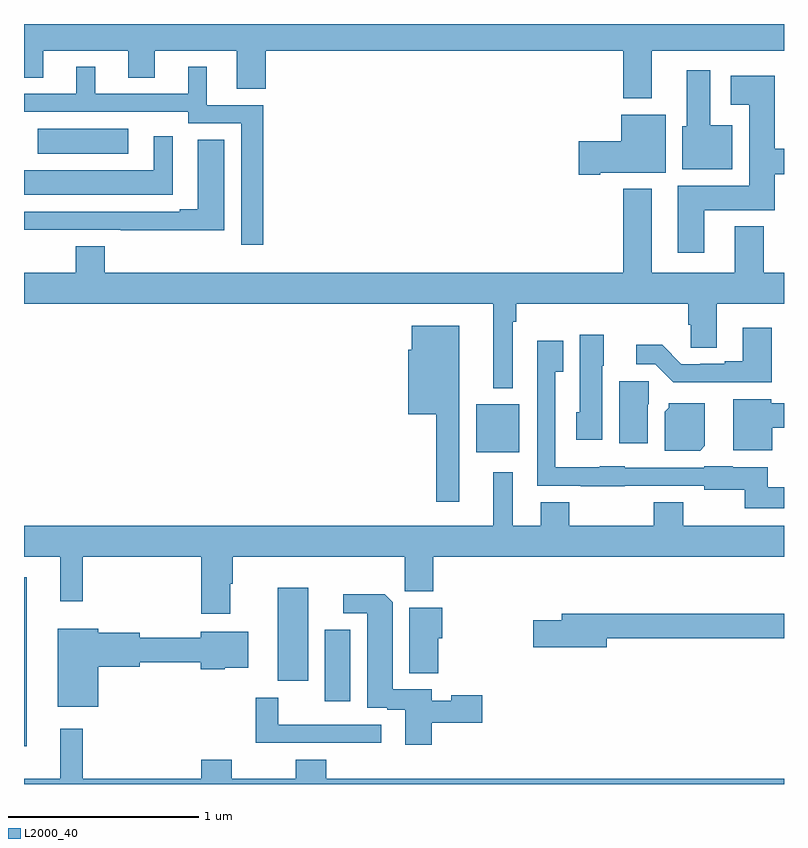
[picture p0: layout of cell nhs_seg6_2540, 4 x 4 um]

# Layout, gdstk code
import gdstk
lib = gdstk.Library(unit=1e-6, precision=1e-09)
def R(c, l, rs):  # rectangles x0, y0, x1, y1
    for r in rs: c.add(gdstk.rectangle(r[:2], r[2:], *l))
def P(c, l, *ps):  # polygons
    for p in ps: c.add(gdstk.Polygon(p, *l))
L2000_40 = (2000, 40)

nhs_seg6_2540 = lib.new_cell('nhs_seg6_2540')
R(nhs_seg6_2540, L2000_40, [(263,919.7,263.014,920.587), (264.584,919.935,264.718,920.311), (264.335,920.043,264.496,920.533), (265.379,921.245,265.606,921.499), (263.073,922.817,263.548,922.948)])
P(nhs_seg6_2540, L2000_40, [(266.305,923.36),(267,923.36),(267,923.5),(263,923.5),(263,923.218),(263.101,923.218),(263.101,923.36),(263.549,923.36),(263.549,923.218),(263.689,923.218),(263.689,923.36),(264.119,923.36),(264.119,923.158),(264.272,923.158),(264.272,923.36),(266.153,923.36),(266.153,923.108),(266.305,923.108)],
  [(264.26,923.073),(263.962,923.073),(263.962,923.275),(263.864,923.275),(263.864,923.133),(263.374,923.133),(263.374,923.275),(263.276,923.275),(263.276,923.133),(263,923.133),(263,923.037),(263.865,923.037),(263.865,922.977),(264.144,922.977),(264.144,922.338),(264.26,922.338)],
  [(266.728,922.966),(266.611,922.966),(266.611,923.257),(266.489,923.257),(266.489,922.962),(266.465,922.962),(266.465,922.736),(266.728,922.736)],
  [(266.581,922.52),(266.951,922.52),(266.951,922.708),(267,922.708),(267,922.844),(266.951,922.844),(266.951,923.227),(266.721,923.227),(266.721,923.075),(266.816,923.075),(266.816,922.648),(266.441,922.648),(266.441,922.296),(266.581,922.296)],
  [(266.032,922.718),(266.377,922.718),(266.377,923.023),(266.144,923.023),(266.144,922.884),(265.92,922.884),(265.92,922.706),(266.032,922.706)],
  [(263.782,922.909),(263.684,922.909),(263.684,922.729),(263,922.729),(263,922.601),(263.782,922.601)],
  [(264.055,922.891),(263.915,922.891),(263.915,922.525),(263.819,922.525),(263.819,922.512),(263,922.512),(263,922.416),(263.509,922.416),(263.509,922.414),(264.055,922.414)],
  [(265.573,921.932),(265.591,921.932),(265.591,922.028),(266.495,922.028),(266.495,921.918),(266.508,921.918),(266.508,921.796),(266.647,921.796),(266.647,922.028),(267,922.028),(267,922.192),(266.894,922.192),(266.894,922.435),(266.741,922.435),(266.741,922.192),(266.305,922.192),(266.305,922.633),(266.153,922.633),(266.153,922.192),(263.426,922.192),(263.426,922.331),(263.273,922.331),(263.273,922.192),(263,922.192),(263,922.028),(265.469,922.028),(265.469,921.584),(265.573,921.584)],
  [(265.291,921.913),(265.04,921.913),(265.04,921.786),(265.022,921.786),(265.022,921.446),(265.17,921.446),(265.17,920.985),(265.291,920.985)],
  [(266.936,921.901),(266.783,921.901),(266.783,921.724),(266.687,921.724),(266.687,921.711),(266.56,921.711),(266.56,921.708),(266.46,921.708),(266.358,921.811),(266.223,921.811),(266.223,921.708),(266.322,921.708),(266.416,921.614),(266.936,921.614)],
  [(266.044,921.702),(266.05,921.702),(266.05,921.865),(265.925,921.865),(265.925,921.456),(265.907,921.456),(265.907,921.312),(266.044,921.312)],
  [(267,921.061),(266.914,921.061),(266.914,921.166),(266.73,921.166),(266.73,921.172),(266.58,921.172),(266.58,921.165),(266.163,921.165),(266.163,921.172),(266.031,921.172),(266.031,921.166),(265.797,921.166),(265.797,921.671),(265.837,921.671),(265.837,921.832),(265.701,921.832),(265.701,921.069),(265.931,921.069),(265.931,921.068),(266.163,921.068),(266.163,921.069),(266.58,921.069),(266.58,921.05),(266.793,921.05),(266.793,920.952),(267,920.952)],
  [(266.284,921.498),(266.288,921.498),(266.288,921.621),(266.132,921.621),(266.132,921.294),(266.284,921.294)],
  [(266.938,921.376),(267,921.376),(267,921.505),(266.934,921.505),(266.934,921.526),(266.732,921.526),(266.732,921.257),(266.938,921.257)],
  [(266.584,921.28),(266.584,921.505),(266.394,921.505),(266.394,921.48),(266.372,921.458),(266.372,921.254),(266.558,921.254)],
  [(264.085,920.555),(264.098,920.555),(264.098,920.696),(265.003,920.696),(265.003,920.514),(265.154,920.514),(265.154,920.696),(267,920.696),(267,920.86),(266.469,920.86),(266.469,920.984),(266.314,920.984),(266.314,920.86),(265.869,920.86),(265.869,920.984),(265.721,920.984),(265.721,920.86),(265.573,920.86),(265.573,921.142),(265.469,921.142),(265.469,920.86),(263,920.86),(263,920.696),(263.192,920.696),(263.192,920.463),(263.309,920.463),(263.309,920.696),(263.933,920.696),(263.933,920.397),(264.085,920.397)],
  [(265.147,919.822),(265.411,919.822),(265.411,919.966),(265.248,919.966),(265.248,919.939),(265.147,919.939),(265.147,919.998),(264.94,919.998),(264.94,920.456),(264.898,920.498),(264.681,920.498),(264.681,920.4),(264.806,920.4),(264.806,919.902),(264.911,919.902),(264.911,919.89),(265.007,919.89),(265.007,919.707),(265.147,919.707)],
  [(265.181,920.266),(265.201,920.266),(265.201,920.428),(265.028,920.428),(265.028,920.083),(265.181,920.083)],
  [(266.068,920.266),(267,920.266),(267,920.395),(265.829,920.395),(265.829,920.361),(265.68,920.361),(265.68,920.219),(266.068,920.219)],
  [(263.392,920.117),(263.608,920.117),(263.608,920.14),(263.93,920.14),(263.93,920.104),(264.056,920.104),(264.056,920.111),(264.181,920.111),(264.181,920.302),(263.93,920.302),(263.93,920.269),(263.608,920.269),(263.608,920.295),(263.392,920.295),(263.392,920.317),(263.177,920.317),(263.177,919.907),(263.392,919.907)],
  [(264.88,919.812),(264.339,919.812),(264.339,919.954),(264.22,919.954),(264.22,919.716),(264.88,919.716)],
  [(267,919.528),(264.59,919.528),(264.59,919.627),(264.43,919.627),(264.43,919.528),(264.093,919.528),(264.093,919.627),(263.933,919.627),(263.933,919.528),(263.309,919.528),(263.309,919.792),(263.191,919.792),(263.191,919.528),(263,919.528),(263,919.5),(267,919.5)])

lib.write_gds('nhs_seg6_2540.gds')
